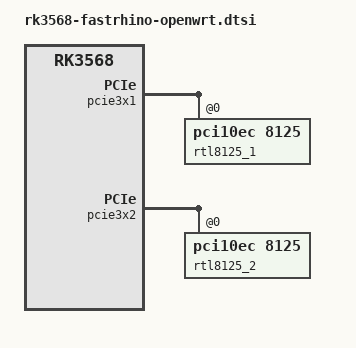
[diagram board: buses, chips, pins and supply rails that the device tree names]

/ {
	aliases {
		led-boot 	 = &status_led;
		led-failsafe = &status_led;
		led-running  = &status_led;
		led-upgrade  = &status_led;
	};
};

/* LAN3 */
&pcie3x1 {

	pcie@10 {
		reg = <0x00100000 0 0 0 0>;
		#address-cells = <3>;
		#size-cells = <2>;

		rtl8125_1: pcie-eth@10,0 {
			compatible = "pci10ec,8125";
			reg = <0x000000 0 0 0 0>;

			realtek,led-data = <0x22b 0 0 0>;
		};
	};
};

/* LAN2 */
&pcie3x2 {

	pcie@20 {
		reg = <0x00200000 0 0 0 0>;
		#address-cells = <3>;
		#size-cells = <2>;

		rtl8125_2: pcie-eth@20,0 {
			compatible = "pci10ec,8125";
			reg = <0x000000 0 0 0 0>;

			realtek,led-data = <0x22b 0 0 0>;
		};
	};
};
